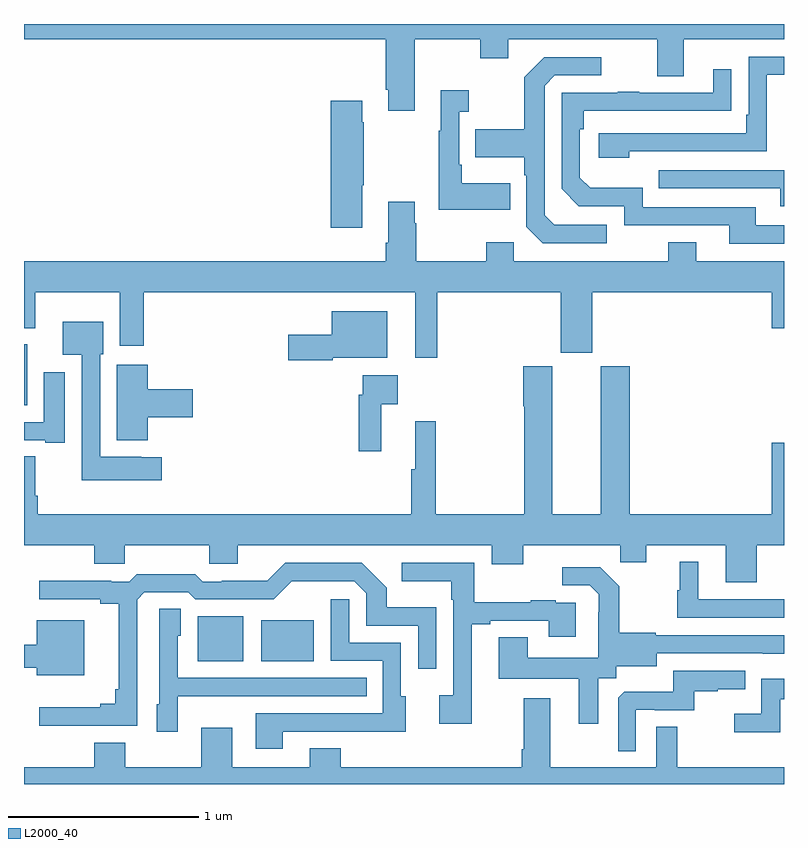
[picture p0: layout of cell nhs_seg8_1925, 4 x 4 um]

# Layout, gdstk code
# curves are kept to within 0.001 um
import gdstk
lib = gdstk.Library(unit=1e-6, precision=1e-09)
def R(c, l, rs):  # rectangles x0, y0, x1, y1
    for r in rs: c.add(gdstk.rectangle(r[:2], r[2:], *l))
def P(c, l, *ps):  # polygons
    for p in ps: c.add(gdstk.Polygon(p, *l))
L2000_40 = (2000, 40)

nhs_seg8_1925 = lib.new_cell('nhs_seg8_1925')
R(nhs_seg8_1925, L2000_40, [(233.915,1126.547,234.154,1126.783), (234.248,1126.547,234.526,1126.762), (233,1127.894,233.017,1128.214)])
P(nhs_seg8_1925, L2000_40, [(235.057,1129.82),(235.402,1129.82),(235.402,1129.721),(235.549,1129.721),(235.549,1129.82),(236.333,1129.82),(236.333,1129.626),(236.473,1129.626),(236.473,1129.82),(237,1129.82),(237,1129.9),(233,1129.9),(233,1129.82),(234.905,1129.82),(234.905,1129.555),(234.917,1129.555),(234.917,1129.443),(235.057,1129.443)],
  [(236.186,1129.23),(236.91,1129.23),(236.91,1129.632),(237,1129.632),(237,1129.728),(236.814,1129.728),(236.814,1129.423),(236.801,1129.423),(236.801,1129.326),(236.025,1129.326),(236.025,1129.196),(236.186,1129.196)],
  [(236.068,1128.843),(235.791,1128.843),(235.74,1128.894),(235.74,1129.575),(235.794,1129.629),(236.038,1129.629),(236.038,1129.725),(235.737,1129.725),(235.632,1129.619),(235.632,1129.347),(235.375,1129.347),(235.375,1129.199),(235.632,1129.199),(235.632,1129.103),(235.644,1129.103),(235.644,1128.834),(235.731,1128.747),(236.068,1128.747)],
  [(237,1128.84),(236.851,1128.84),(236.851,1128.936),(236.256,1128.936),(236.256,1129.039),(235.979,1129.039),(235.926,1129.092),(235.926,1129.346),(235.946,1129.346),(235.946,1129.443),(236.723,1129.444),(236.723,1129.663),(236.627,1129.663),(236.627,1129.539),(236.237,1129.539),(236.237,1129.544),(236.125,1129.544),(236.125,1129.539),(235.83,1129.539),(235.83,1129.032),(235.92,1128.942),(236.16,1128.942),(236.16,1128.84),(236.711,1128.84),(236.711,1128.744),(237,1128.744)],
  [(235.559,1129.063),(235.303,1129.063),(235.303,1129.159),(235.29,1129.159),(235.29,1129.439),(235.342,1129.439),(235.342,1129.552),(235.193,1129.552),(235.193,1129.339),(235.182,1129.339),(235.182,1128.923),(235.559,1128.923)],
  [(234.781,1129.051),(234.789,1129.051),(234.789,1129.382),(234.781,1129.382),(234.781,1129.495),(234.614,1129.495),(234.614,1128.828),(234.781,1128.828)],
  [(237,1129.131),(236.341,1129.131),(236.341,1129.035),(236.981,1129.035),(236.981,1128.941),(237,1128.941)],
  [(233,1128.299),(233.059,1128.299),(233.059,1128.488),(233.504,1128.488),(233.504,1128.207),(233.63,1128.207),(233.63,1128.488),(235.058,1128.488),(235.058,1128.144),(235.175,1128.144),(235.175,1128.488),(235.826,1128.488),(235.826,1128.171),(235.99,1128.171),(235.99,1128.488),(236.936,1128.488),(236.936,1128.3),(237,1128.3),(237,1128.652),(236.539,1128.652),(236.539,1128.751),(236.392,1128.751),(236.392,1128.652),(235.578,1128.652),(235.578,1128.751),(235.432,1128.751),(235.432,1128.652),(235.065,1128.652),(235.065,1128.851),(235.057,1128.851),(235.057,1128.964),(234.917,1128.964),(234.917,1128.748),(234.905,1128.748),(234.905,1128.652),(233,1128.652)],
  [(234.624,1128.143),(234.913,1128.143),(234.913,1128.388),(234.62,1128.388),(234.62,1128.265),(234.39,1128.265),(234.39,1128.131),(234.624,1128.131)],
  [(233.725,1127.62),(233.616,1127.62),(233.616,1127.622),(233.4,1127.622),(233.4,1128.162),(233.416,1128.162),(233.416,1128.334),(233.204,1128.334),(233.204,1128.158),(233.304,1128.158),(233.304,1127.498),(233.725,1127.498)],
  [(233.651,1127.831),(233.887,1127.831),(233.887,1127.978),(233.651,1127.978),(233.651,1128.106),(233.489,1128.106),(233.489,1127.708),(233.651,1127.708)],
  [(236.857,1127.156),(237,1127.156),(237,1127.695),(236.936,1127.695),(236.936,1127.32),(236.189,1127.32),(236.189,1128.099),(236.036,1128.099),(236.036,1127.32),(235.78,1127.32),(235.78,1128.099),(235.628,1128.099),(235.628,1127.887),(235.633,1127.887),(235.633,1127.32),(235.168,1127.32),(235.168,1127.809),(235.058,1127.809),(235.058,1127.556),(235.039,1127.556),(235.039,1127.32),(233.072,1127.32),(233.072,1127.416),(233.059,1127.416),(233.059,1127.624),(233,1127.624),(233,1127.156),(233.369,1127.156),(233.369,1127.058),(233.529,1127.058),(233.529,1127.156),(233.974,1127.156),(233.974,1127.058),(234.124,1127.058),(234.124,1127.156),(235.463,1127.156),(235.463,1127.057),(235.627,1127.057),(235.627,1127.156),(236.137,1127.156),(236.137,1127.066),(236.275,1127.066),(236.275,1127.156),(236.693,1127.156),(236.693,1126.962),(236.857,1126.962)],
  [(233.215,1128.067),(233.105,1128.067),(233.105,1127.805),(233,1127.805),(233,1127.709),(233.111,1127.709),(233.111,1127.697),(233.215,1127.697)],
  [(234.881,1127.9),(234.967,1127.9),(234.967,1128.052),(234.783,1128.052),(234.783,1127.948),(234.763,1127.948),(234.763,1127.652),(234.881,1127.652)],
  [(237,1126.872),(236.548,1126.872),(236.548,1127.071),(236.45,1127.071),(236.45,1126.92),(236.439,1126.92),(236.439,1126.776),(237,1126.776)],
  [(235.357,1126.74),(235.453,1126.74),(235.453,1126.758),(235.763,1126.758),(235.763,1126.674),(235.903,1126.674),(235.903,1126.854),(235.799,1126.854),(235.799,1126.867),(235.667,1126.867),(235.667,1126.856),(235.369,1126.856),(235.369,1127.064),(234.987,1127.064),(234.987,1126.967),(235.248,1126.967),(235.248,1126.871),(235.26,1126.871),(235.26,1126.366),(235.185,1126.366),(235.185,1126.218),(235.357,1126.218)],
  [(233.595,1126.869),(233.634,1126.908),(233.865,1126.908),(233.901,1126.872),(234.315,1126.872),(234.41,1126.967),(234.738,1126.968),(234.801,1126.905),(234.801,1126.734),(235.074,1126.734),(235.074,1126.506),(235.17,1126.506),(235.17,1126.831),(234.909,1126.831),(234.909,1126.934),(234.778,1127.064),(234.375,1127.064),(234.281,1126.97),(234.04,1126.97),(234.04,1126.965),(233.94,1126.965),(233.901,1127.005),(233.593,1127.005),(233.553,1126.965),(233.459,1126.965),(233.459,1126.97),(233.079,1126.97),(233.079,1126.872),(233.402,1126.872),(233.402,1126.85),(233.498,1126.85),(233.498,1126.399),(233.479,1126.399),(233.479,1126.322),(233.402,1126.322),(233.402,1126.303),(233.079,1126.303),(233.079,1126.206),(233.595,1126.206)],
  [(236.023,1126.456),(236.118,1126.456),(236.118,1126.52),(236.329,1126.52),(236.329,1126.587),(237,1126.586),(237,1126.683),(236.325,1126.683),(236.325,1126.696),(236.133,1126.696),(236.133,1126.941),(236.033,1127.041),(235.833,1127.041),(235.833,1126.947),(235.977,1126.947),(236.024,1126.9),(236.024,1126.805),(236.022,1126.805),(236.022,1126.564),(235.651,1126.564),(235.651,1126.673),(235.499,1126.673),(235.499,1126.454),(235.919,1126.454),(235.919,1126.218),(236.023,1126.218)],
  [(234.361,1126.176),(234.791,1126.176),(234.791,1126.175),(235.009,1126.175),(235.009,1126.362),(234.984,1126.362),(234.984,1126.644),(234.711,1126.644),(234.711,1126.873),(234.615,1126.873),(234.615,1126.548),(234.888,1126.548),(234.888,1126.272),(234.221,1126.272),(234.221,1126.086),(234.361,1126.086)],
  [(233.808,1126.361),(234.125,1126.361),(234.125,1126.362),(234.803,1126.362),(234.803,1126.458),(233.808,1126.458),(233.808,1126.68),(233.824,1126.68),(233.824,1126.823),(233.712,1126.823),(233.712,1126.32),(233.699,1126.32),(233.699,1126.176),(233.808,1126.176)],
  [(233.317,1126.762),(233.066,1126.762),(233.066,1126.633),(233,1126.633),(233,1126.511),(233.066,1126.511),(233.066,1126.472),(233.317,1126.472)],
  [(236.22,1126.29),(236.32,1126.29),(236.32,1126.287),(236.528,1126.287),(236.528,1126.389),(236.651,1126.389),(236.651,1126.4),(236.795,1126.4),(236.795,1126.497),(236.418,1126.497),(236.418,1126.385),(236.159,1126.385),(236.127,1126.353),(236.127,1126.073),(236.22,1126.073)],
  [(236.979,1126.347),(237,1126.347),(237,1126.455),(236.88,1126.455),(236.88,1126.27),(236.739,1126.27),(236.739,1126.172),(236.979,1126.172)],
  [(237,1125.988),(236.437,1125.988),(236.437,1126.202),(236.328,1126.202),(236.328,1125.988),(235.771,1125.988),(235.771,1126.351),(235.631,1126.351),(235.631,1126.084),(235.619,1126.084),(235.619,1125.988),(234.667,1125.988),(234.667,1126.087),(234.503,1126.087),(234.503,1125.988),(234.097,1125.988),(234.097,1126.195),(233.933,1126.195),(233.933,1125.988),(233.533,1125.988),(233.533,1126.117),(233.369,1126.117),(233.369,1125.988),(233,1125.988),(233,1125.9),(237,1125.9)])

lib.write_gds('nhs_seg8_1925.gds')
